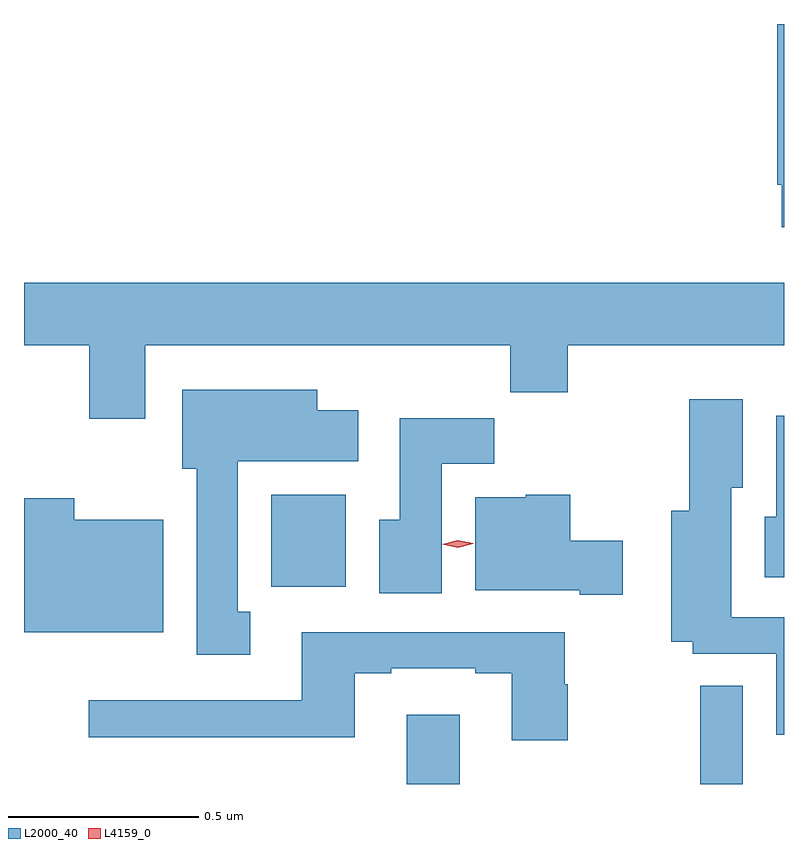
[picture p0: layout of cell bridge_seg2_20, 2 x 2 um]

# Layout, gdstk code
import gdstk
lib = gdstk.Library(unit=1e-6, precision=1e-09)
def R(c, l, rs):  # rectangles x0, y0, x1, y1
    for r in rs: c.add(gdstk.rectangle(r[:2], r[2:], *l))
def P(c, l, *ps):  # polygons
    for p in ps: c.add(gdstk.Polygon(p, *l))
L2000_40 = (2000, 40)
L4159_0 = (4159, 0)

bridge_seg2_20 = lib.new_cell('bridge_seg2_20')
R(bridge_seg2_20, L2000_40, [(881.891,613.181,882.031,613.363), (882.664,613.181,882.775,613.439), (881.534,613.7,881.731,613.942)])
P(bridge_seg2_20, L2000_40, [(882.884,615.181),(882.866,615.181),(882.866,614.758),(882.878,614.758),(882.878,614.646),(882.884,614.646)],
  [(881.203,614.336),(882.163,614.336),(882.163,614.212),(882.315,614.212),(882.315,614.336),(882.884,614.336),(882.884,614.5),(880.884,614.5),(880.884,614.336),(881.056,614.336),(881.056,614.142),(881.203,614.142)],
  [(881.479,613.634),(881.446,613.634),(881.446,614.03),(881.764,614.03),(881.764,614.164),(881.656,614.164),(881.656,614.218),(881.3,614.218),(881.3,614.01),(881.339,614.01),(881.339,613.521),(881.479,613.521)],
  [(882.884,613.62),(882.745,613.62),(882.745,613.961),(882.775,613.961),(882.775,614.194),(882.634,614.194),(882.634,613.9),(882.587,613.9),(882.587,613.556),(882.644,613.556),(882.644,613.524),(882.864,613.524),(882.864,613.31),(882.884,613.31)],
  [(882.884,614.15),(882.864,614.15),(882.864,613.884),(882.833,613.884),(882.833,613.725),(882.884,613.725)],
  [(881.983,614.024),(882.122,614.024),(882.122,614.143),(881.873,614.143),(881.873,613.876),(881.819,613.876),(881.819,613.683),(881.983,613.683)],
  [(882.46,613.821),(882.322,613.821),(882.322,613.942),(882.204,613.942),(882.204,613.936),(882.071,613.936),(882.071,613.691),(882.347,613.691),(882.347,613.679),(882.46,613.679)],
  [(881.251,613.876),(881.016,613.876),(881.016,613.933),(880.884,613.933),(880.884,613.58),(881.251,613.58)],
  [(882.315,613.443),(882.307,613.443),(882.307,613.581),(881.615,613.581),(881.615,613.401),(881.055,613.401),(881.055,613.304),(881.755,613.304),(881.755,613.473),(881.851,613.473),(881.851,613.485),(882.071,613.485),(882.071,613.473),(882.167,613.473),(882.167,613.296),(882.315,613.296)])
P(bridge_seg2_20, L4159_0, [(882.026,613.803),(881.985,613.812),(881.985,613.812),(881.985,613.812),(882.025,613.823),(882.066,613.814),(882.066,613.814),(882.066,613.813)])

lib.write_gds('bridge_seg2_20.gds')
